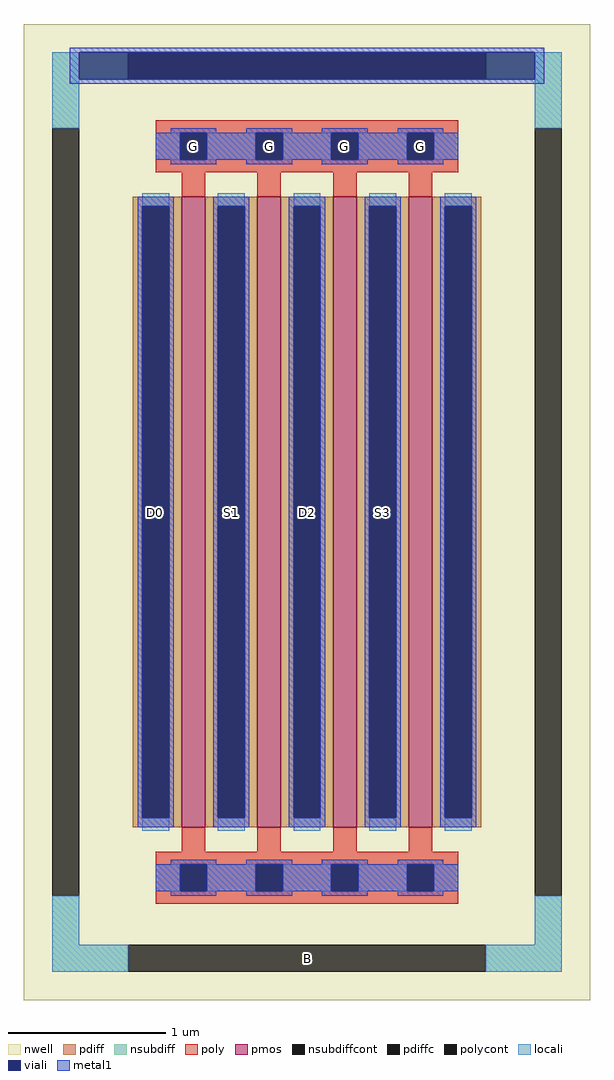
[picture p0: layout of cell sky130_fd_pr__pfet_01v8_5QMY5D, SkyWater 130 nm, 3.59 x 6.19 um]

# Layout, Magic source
magic
tech sky130A
magscale 1 2
<< nwell >>
rect -359 -619 359 619
<< pmos >>
rect -159 -400 -129 400
rect -63 -400 -33 400
rect 33 -400 63 400
rect 129 -400 159 400
<< pdiff >>
rect -221 388 -159 400
rect -221 -388 -209 388
rect -175 -388 -159 388
rect -221 -400 -159 -388
rect -129 388 -63 400
rect -129 -388 -113 388
rect -79 -388 -63 388
rect -129 -400 -63 -388
rect -33 388 33 400
rect -33 -388 -17 388
rect 17 -388 33 388
rect -33 -400 33 -388
rect 63 388 129 400
rect 63 -388 79 388
rect 113 -388 129 388
rect 63 -400 129 -388
rect 159 388 221 400
rect 159 -388 175 388
rect 209 -388 221 388
rect 159 -400 221 -388
<< pdiffc >>
rect -209 -388 -175 388
rect -113 -388 -79 388
rect -17 -388 17 388
rect 79 -388 113 388
rect 175 -388 209 388
<< nsubdiff >>
rect -323 549 -227 583
rect 227 549 323 583
rect -323 487 -289 549
rect 289 487 323 549
rect -323 -549 -289 -487
rect 289 -549 323 -487
rect -323 -583 -227 -549
rect 227 -583 323 -549
<< nsubdiffcont >>
rect -227 549 227 583
rect -323 -487 -289 487
rect 289 -487 323 487
rect -227 -583 227 -549
<< poly >>
rect -192 481 192 497
rect -192 447 -161 481
rect -127 447 -65 481
rect -31 447 31 481
rect 65 447 127 481
rect 161 447 192 481
rect -192 431 192 447
rect -159 400 -129 431
rect -63 400 -33 431
rect 33 400 63 431
rect 129 400 159 431
rect -159 -431 -129 -400
rect -63 -431 -33 -400
rect 33 -431 63 -400
rect 129 -431 159 -400
rect -192 -447 192 -431
rect -192 -481 -161 -447
rect -127 -481 -65 -447
rect -31 -481 31 -447
rect 65 -481 127 -447
rect 161 -481 192 -447
rect -192 -497 192 -481
<< polycont >>
rect -161 447 -127 481
rect -65 447 -31 481
rect 31 447 65 481
rect 127 447 161 481
rect -161 -481 -127 -447
rect -65 -481 -31 -447
rect 31 -481 65 -447
rect 127 -481 161 -447
<< locali >>
rect -323 487 -289 583
rect 289 487 323 583
rect -192 447 -161 481
rect -127 447 -65 481
rect -31 447 31 481
rect 65 447 127 481
rect 161 447 192 481
rect -209 388 -175 404
rect -209 -404 -175 -388
rect -113 388 -79 404
rect -113 -404 -79 -388
rect -17 388 17 404
rect -17 -404 17 -388
rect 79 388 113 404
rect 79 -404 113 -388
rect 175 388 209 404
rect 175 -404 209 -388
rect -192 -481 -161 -447
rect -127 -481 -65 -447
rect -31 -481 31 -447
rect 65 -481 127 -447
rect 161 -481 192 -447
rect -323 -549 -289 -487
rect 289 -549 323 -487
rect -323 -583 -227 -549
rect 227 -583 323 -549
<< viali >>
rect -289 549 -227 583
rect -227 549 227 583
rect 227 549 289 583
rect -161 447 -127 481
rect -65 447 -31 481
rect 31 447 65 481
rect 127 447 161 481
rect -209 -388 -175 388
rect -113 -388 -79 388
rect -17 -388 17 388
rect 79 -388 113 388
rect 175 -388 209 388
rect -161 -481 -127 -447
rect -65 -481 -31 -447
rect 31 -481 65 -447
rect 127 -481 161 -447
<< metal1 >>
rect -301 583 301 589
rect -301 549 -289 583
rect 289 549 301 583
rect -301 543 301 549
rect -173 481 -115 487
rect -77 481 -19 487
rect 19 481 77 487
rect 115 481 173 487
rect -192 447 -161 481
rect -127 447 -65 481
rect -31 447 31 481
rect 65 447 127 481
rect 161 447 192 481
rect -173 441 -115 447
rect -77 441 -19 447
rect 19 441 77 447
rect 115 441 173 447
rect -215 388 -169 400
rect -215 -388 -209 388
rect -175 -388 -169 388
rect -215 -400 -169 -388
rect -119 388 -73 400
rect -119 -388 -113 388
rect -79 -388 -73 388
rect -119 -400 -73 -388
rect -23 388 23 400
rect -23 -388 -17 388
rect 17 -388 23 388
rect -23 -400 23 -388
rect 73 388 119 400
rect 73 -388 79 388
rect 113 -388 119 388
rect 73 -400 119 -388
rect 169 388 215 400
rect 169 -388 175 388
rect 209 -388 215 388
rect 169 -400 215 -388
rect -173 -447 -115 -441
rect -77 -447 -19 -441
rect 19 -447 77 -441
rect 115 -447 173 -441
rect -192 -481 -161 -447
rect -127 -481 -65 -447
rect -31 -481 31 -447
rect 65 -481 127 -447
rect 161 -481 192 -447
rect -173 -487 -115 -481
rect -77 -487 -19 -481
rect 19 -487 77 -481
rect 115 -487 173 -481
<< labels >>
rlabel nsubdiffcont 0 -566 0 -566 0 B
port 1 nsew
rlabel pdiffc -192 0 -192 0 0 D0
port 2 nsew
rlabel polycont -144 464 -144 464 0 G
port 3 nsew
rlabel pdiffc -96 0 -96 0 0 S1
port 4 nsew
rlabel polycont -48 464 -48 464 0 G
port 3 nsew
rlabel pdiffc 0 0 0 0 0 D2
port 5 nsew
rlabel polycont 48 464 48 464 0 G
port 3 nsew
rlabel pdiffc 96 0 96 0 0 S3
port 6 nsew
rlabel polycont 144 464 144 464 0 G
port 3 nsew
<< properties >>
string FIXED_BBOX -306 -566 306 566
string gencell sky130_fd_pr__pfet_01v8
string library sky130
string parameters w 4.0 l 0.15 m 1 nf 4 diffcov 100 polycov 100 guard 1 glc 1 grc 1 gtc 1 gbc 1 tbcov 100 rlcov 100 topc 1 botc 1 poverlap 0 doverlap 1 lmin 0.15 wmin 0.42 class mosfet compatible {sky130_fd_pr__pfet_01v8  sky130_fd_pr__pfet_01v8_lvt sky130_fd_pr__pfet_01v8_hvt  sky130_fd_pr__pfet_g5v0d10v5} full_metal 1 conn_gates 1 viasrc 100 viadrn 100 viagate 100 viagb 0 viagr 0 viagl 0 viagt 100 doports 1
<< end >>
